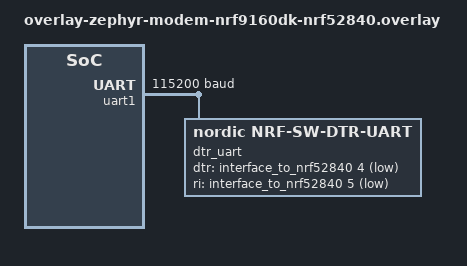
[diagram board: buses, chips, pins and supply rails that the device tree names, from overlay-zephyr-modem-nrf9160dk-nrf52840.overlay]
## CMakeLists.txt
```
#
# Copyright (c) 2019 Nordic Semiconductor
#
# SPDX-License-Identifier: LicenseRef-Nordic-5-Clause
#

cmake_minimum_required(VERSION 3.20.0)

find_package(Zephyr REQUIRED HINTS $ENV{ZEPHYR_BASE})
project(serial_lte_modem)

# NORDIC SDK APP START
target_sources(app PRIVATE src/main.c)
target_sources(app PRIVATE src/slm_util.c)
target_sources(app PRIVATE src/slm_ctrl_pin.c)
target_sources(app PRIVATE src/slm_settings.c)
target_sources(app PRIVATE src/slm_at_host.c)
target_sources(app PRIVATE src/slm_at_commands.c)
target_sources(app PRIVATE src/slm_at_socket.c)
target_sources(app PRIVATE src/slm_at_tcp_proxy.c)
target_sources(app PRIVATE src/slm_at_udp_proxy.c)
target_sources(app PRIVATE src/slm_at_icmp.c)
target_sources(app PRIVATE src/slm_at_fota.c)
target_sources(app PRIVATE src/slm_uart_handler.c)
# NORDIC SDK APP END
target_sources_ifdef(CONFIG_SLM_SMS app PRIVATE src/slm_at_sms.c)
target_sources_ifdef(CONFIG_SLM_PPP app PRIVATE src/slm_ppp.c)
target_sources_ifdef(CONFIG_SLM_CMUX app PRIVATE src/slm_cmux.c)

add_subdirectory_ifdef(CONFIG_SLM_GNSS src/gnss)
add_subdirectory_ifdef(CONFIG_SLM_NRF_CLOUD src/nrfcloud)
add_subdirectory_ifdef(CONFIG_SLM_MQTTC src/mqtt_c)
add_subdirectory_ifdef(CONFIG_SLM_HTTPC src/http_c)
add_subdirectory_ifdef(CONFIG_SLM_TWI src/twi)
add_subdirectory_ifdef(CONFIG_SLM_GPIO src/gpio)
add_subdirectory_ifdef(CONFIG_SLM_CARRIER src/lwm2m_carrier)
add_subdirectory_ifdef(CONFIG_SLM_NATIVE_TLS src/nativetls)
if (CONFIG_SLM_FTPC OR CONFIG_SLM_TFTPC)
        add_subdirectory(src/ftp_c)
endif()

zephyr_include_directories(src)
```

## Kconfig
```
#
# Copyright (c) 2019 Nordic Semiconductor
#
# SPDX-License-Identifier: LicenseRef-Nordic-5-Clause
#

source "Kconfig.zephyr"

menu "Nordic Serial LTE Modem"

config SLM_CUSTOMER_VERSION
	string "Customer version string"
	help
	   This version is reported together with baseline versions by AT command "#XSLMVER".

config SLM_AT_MAX_PARAM
	int "Maximum number of parameters in AT command"
	default 42

#
# external XTAL for UART
#
config SLM_EXTERNAL_XTAL
	bool "Use external XTAL for UARTE"
	default y

#
# AT command terminator
#
choice
	prompt "Termination mode"
	default SLM_CR_LF_TERMINATION
	help
	  Sets the command terminator used by the serial terminal.
	  Available options are:
	  -  CR termination
	  -  LF termination
	  -  CR+LF termination

config SLM_CR_TERMINATION
	bool "CR termination"

config SLM_LF_TERMINATION
	bool "LF termination"

config SLM_CR_LF_TERMINATION
	bool "CR+LF termination"

endchoice

#
# UART buffers (when CMUX is not in use)
#
config SLM_UART_RX_BUF_COUNT
	int "Receive buffers for UART"
	range 2 4
	default 3
	help
	  Amount of buffers for receiving (RX) UART traffic.
	  If the buffers are full, UART RX will be disabled until the buffers are processed.
	  These buffers are not used when CMUX is in use.

config SLM_UART_RX_BUF_SIZE
	int "Receive buffer size for UART"
	range 128 4096
	default 2048 if BOARD_THINGY91_NRF9160_NS || BOARD_THINGY91X_NRF9151_NS
	default 256
	help
	  Amount of received (RX), unprocessed, UART traffic that can be held by single buffer.
	  Increase buffer space for Thingy:91 and Thingy:91 X as hardware flow control is not used.
	  These buffers are not used when CMUX is in use.

config SLM_UART_TX_BUF_SIZE
	int "Send buffer size for UART"
	range 128 4096
	default 256
	help
	  Amount of UART traffic waiting to be sent (TX), that can be held.
	  If the buffers are full, will send synchronously.
	  These buffers are not used when CMUX is in use.

#
# GPIO functionality
#
config SLM_START_SLEEP
	bool "Enter sleep on startup"
	help
	  If enabled, the SiP is put into deep sleep when powered on.
	  It can then be started using SLM_POWER_PIN.

config SLM_POWER_PIN
	int "Power pin"
	default -1
	help
	  Interface GPIO pin used to put the SiP into deep sleep and wake up from it or exit idle.
	  The pin is configured with a pull up and must be pulled down shortly to perform one power off or wake up operation.

config SLM_INDICATE_PIN
	int "Indicate pin"
	default -1
	help
	  Interface GPIO pin used to indicate that data is available when SLM is idle (after #XSLEEP=2 AT command).

config SLM_INDICATE_TIME
	int "Indication period"
	default 100
	help
	  GPIO active indication time in milliseconds. This setting specify the period length for the pin to be active

#
# LTE network automatic attach
#
config SLM_AUTO_CONNECT
	bool "Automatically connect to the LTE network on start-up or after a reset"
	help
	  Enables automatic connection to the LTE network using the PDN configuration defined in 'slm_auto_connect.h'.

#
# TCP/TLS proxy
#
config SLM_TCP_POLL_TIME
	int "Poll time-out in seconds for TCP connection"
	default 10

config SLM_UDP_POLL_TIME
	int "Poll time-out in seconds for UDP connection"
	default 10

#
# Data mode
#
config SLM_DATAMODE_TERMINATOR
	string "Pattern string to terminate data mode"
	default "+++"
	help
	  Use a pattern to terminate data mode

config SLM_DATAMODE_URC
	bool "Send URC in data mode"
	help
	  Report result of data mode sending

config SLM_DATAMODE_BUF_SIZE
	int "Buffer size for data mode"
	range 1024 8192
	default 4096
	help
	  Size of the buffer for data received in data mode.

#
# Configurable services
#
config SLM_SMS
	bool "SMS support in SLM"
	default y
	select SMS
	help
	  Support SMS send/receive in plain text

config SLM_GNSS
	bool "GNSS support in SLM"
	default y

config SLM_NRF_CLOUD
	bool "nRF Cloud support in SLM"
	default y

config SLM_FULL_FOTA
	bool "Full modem FOTA support in SLM"
	depends on !BOARD_THINGY91_NRF9160_NS

config SLM_PPP
	bool "PPP support in SLM"
	help
	  When enabled, SLM automatically brings up/down the PPP link
	  when the LTE link (default PDN) is connected/disconnected,
	  regardless of what is done with AT#XPPP.

if SLM_PPP

config SLM_PPP_FALLBACK_MTU
	int "Fallback MTU to be used by PPP"
	default 1280
	help
	  PPP tries to retrieve the cellular link MTU from the modem (using `AT+CGCONTRDP=0`).
	  If no MTU is returned by the modem, this value will be used as a fallback.
	  The MTU will be used for sending and receiving of data on both the PPP and cellular links.

endif

config SLM_CMUX
	bool "CMUX support in SLM"

config SLM_CMUX_UART_BUFFER_SIZE
	int "UART buffer size for CMUX"
	depends on SLM_CMUX
	default 600
	help
	  Size of the buffer for data received in CMUX mode.
	  Same buffer size is used for both RX and TX.

config SLM_CMUX_TX_BUFFER_SIZE
	int "TX buffer size for CMUX"
	depends on SLM_CMUX
	default 4096
	help
	  Size of the buffer for data sent in CMUX mode. The buffer has to be large enough
	  to hold the largest unsolicited notification that can be sent by the modem.
	  Notifications longer than this size will get dropped.

	  This can be reduced if your use cases do not require lengthy notifications.
	  Note: %NCELLMEAS notifications can be nearly 4kB in size,
	  which explains the default value.

if SLM_CMUX && SLM_PPP

config SLM_MODEM_CELLULAR
	bool "Compatibility with cellular modem driver"
	help
	  Enables compatibility with a host that uses the cellular modem driver. Compared to clients,
	  such as pppd, the cellular modem driver retains more control on how the PPP link
	  is brought up and down.

config SLM_CMUX_AUTOMATIC_FALLBACK_ON_PPP_STOPPAGE
	bool "AT channel automatic fallback to DLCI 1 when PPP stops."
	default y if SLM_MODEM_CELLULAR
	help
	  This is mainly intended for compatibility with Zephyr's cellular modem driver.
	  If enabled, when PPP stops (which happens automatically when the LTE link goes down)
	  CMUX will make the AT channel be on DLCI 1. This only has an effect if it had been
	  configured to be elsewhere, e.g. with AT#XCMUX=2.

endif

if SLM_CMUX || SLM_PPP

config SLM_MODEM_PIPE_TIMEOUT
	int "Timeout for the CMUX and PPP modem pipe operations in seconds"
	default 10

endif

config SLM_SKIP_READY_MSG
	bool "Skip ready message"
	help
	  Skip sending the ready message when the application is powered on.


module = SLM
module-str = serial modem
source "$(ZEPHYR_BASE)/subsys/logging/Kconfig.template.log_config"

rsource "src/ftp_c/Kconfig"
rsource "src/mqtt_c/Kconfig"
rsource "src/http_c/Kconfig"
rsource "src/twi/Kconfig"
rsource "src/gpio/Kconfig"
rsource "src/lwm2m_carrier/Kconfig"
rsource "src/gnss/Kconfig"
rsource "src/nativetls/Kconfig"

endmenu
```

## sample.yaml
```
sample:
  name: Serial LTE Modem
tests:
  applications.serial_lte_modem:
    sysbuild: true
    build_only: true
    platform_allow:
      - nrf9160dk/nrf9160/ns
      - nrf9161dk/nrf9161/ns
      - nrf9151dk/nrf9151/ns
      - nrf9131ek/nrf9131/ns
      - thingy91/nrf9160/ns
      - thingy91x/nrf9151/ns
    integration_platforms:
      - nrf9160dk/nrf9160/ns
      - nrf9161dk/nrf9161/ns
      - nrf9151dk/nrf9151/ns
      - nrf9131ek/nrf9131/ns
      - thingy91/nrf9160/ns
      - thingy91x/nrf9151/ns
    tags:
      - ci_build
      - sysbuild
      - ci_applications_serial_lte_modem
  applications.serial_lte_modem_no_power_indicate:
    sysbuild: true
    build_only: true
    extra_configs:
      - CONFIG_SLM_POWER_PIN=-1
      - CONFIG_SLM_INDICATE_PIN=-1
    platform_allow:
      - nrf9151dk/nrf9151/ns
    integration_platforms:
      - nrf9151dk/nrf9151/ns
    tags:
      - ci_build
      - sysbuild
      - ci_applications_serial_lte_modem
  applications.serial_lte_modem_no_power:
    sysbuild: true
    build_only: true
    extra_configs:
      - CONFIG_SLM_POWER_PIN=-1
    platform_allow:
      - nrf9151dk/nrf9151/ns
    integration_platforms:
      - nrf9151dk/nrf9151/ns
    tags:
      - ci_build
      - sysbuild
      - ci_applications_serial_lte_modem
  applications.serial_lte_modem_no_indicate:
    sysbuild: true
    build_only: true
    extra_configs:
      - CONFIG_SLM_INDICATE_PIN=-1
    platform_allow:
      - nrf9151dk/nrf9151/ns
    integration_platforms:
      - nrf9151dk/nrf9151/ns
    tags:
      - ci_build
      - sysbuild
      - ci_applications_serial_lte_modem
  applications.serial_lte_modem.extmcu:
    sysbuild: true
    build_only: true
    extra_args:
      - EXTRA_DTC_OVERLAY_FILE="overlay-external-mcu.overlay"
    extra_configs:
      - CONFIG_SLM_POWER_PIN=31
      - CONFIG_SLM_INDICATE_PIN=30
    platform_allow:
      - nrf9160dk/nrf9160/ns
      - nrf9161dk/nrf9161/ns
      - nrf9151dk/nrf9151/ns
    integration_platforms:
      - nrf9151dk/nrf9151/ns
    tags:
      - ci_build
      - sysbuild
      - ci_applications_serial_lte_modem
  applications.serial_lte_modem.ppp_without_cmux:
    sysbuild: true
    build_only: true
    extra_args:
      - EXTRA_CONF_FILE="overlay-ppp.conf"
      - EXTRA_DTC_OVERLAY_FILE="overlay-ppp-without-cmux.overlay"
    platform_allow:
      - nrf9160dk/nrf9160/ns
      - nrf9161dk/nrf9161/ns
      - nrf9151dk/nrf9151/ns
      - nrf9131ek/nrf9131/ns
      - thingy91/nrf9160/ns
      - thingy91x/nrf9151/ns
    integration_platforms:
      - nrf9151dk/nrf9151/ns
    tags:
      - ci_build
      - sysbuild
      - ci_applications_serial_lte_modem
  applications.serial_lte_modem.ppp_without_cmux_power_indicate_pin:
    sysbuild: true
    build_only: true
    extra_args:
      - EXTRA_CONF_FILE="overlay-ppp.conf"
      - EXTRA_DTC_OVERLAY_FILE="overlay-ppp-without-cmux.overlay"
    extra_configs:
      - CONFIG_SLM_POWER_PIN=31
      - CONFIG_SLM_INDICATE_PIN=30
    platform_allow:
      - nrf9160dk/nrf9160/ns
      - nrf9161dk/nrf9161/ns
      - nrf9151dk/nrf9151/ns
      - nrf9131ek/nrf9131/ns
      - thingy91/nrf9160/ns
      - thingy91x/nrf9151/ns
    integration_platforms:
      - nrf9151dk/nrf9151/ns
    tags:
      - ci_build
      - sysbuild
      - ci_applications_serial_lte_modem
  applications.serial_lte_modem.ppp_cmux_linux:
    sysbuild: true
    build_only: true
    extra_args:
      - EXTRA_CONF_FILE="overlay-ppp-cmux-linux.conf"
    platform_allow:
      - nrf9160dk/nrf9160/ns
      - nrf9161dk/nrf9161/ns
      - nrf9151dk/nrf9151/ns
      - nrf9131ek/nrf9131/ns
      - thingy91/nrf9160/ns
      - thingy91x/nrf9151/ns
    integration_platforms:
      - nrf9151dk/nrf9151/ns
    tags:
      - ci_build
      - sysbuild
      - ci_applications_serial_lte_modem
  applications.serial_lte_modem.ppp_cmux_linux_power_indicate_pin:
    sysbuild: true
    build_only: true
    extra_args:
      - EXTRA_CONF_FILE="overlay-ppp-cmux-linux.conf"
    extra_configs:
      - CONFIG_SLM_POWER_PIN=31
      - CONFIG_SLM_INDICATE_PIN=30
    platform_allow:
      - nrf9160dk/nrf9160/ns
      - nrf9161dk/nrf9161/ns
      - nrf9151dk/nrf9151/ns
      - nrf9131ek/nrf9131/ns
      - thingy91/nrf9160/ns
      - thingy91x/nrf9151/ns
    integration_platforms:
      - nrf9151dk/nrf9151/ns
    tags:
      - ci_build
      - sysbuild
      - ci_applications_serial_lte_modem
  applications.serial_lte_modem.ppp_cmux_zephyr_with_extmcu:
    sysbuild: true
    build_only: true
    extra_args:
      - EXTRA_CONF_FILE="overlay-cmux.conf;overlay-ppp.conf;overlay-zephyr-modem.conf"
      - EXTRA_DTC_OVERLAY_FILE="overlay-external-mcu.overlay"
    platform_allow:
      - nrf9160dk/nrf9160/ns
      - nrf9161dk/nrf9161/ns
      - nrf9151dk/nrf9151/ns
    integration_platforms:
      - nrf9151dk/nrf9151/ns
    tags:
      - ci_build
      - sysbuild
      - ci_applications_serial_lte_modem
  applications.serial_lte_modem.ppp_cmux_zephyr_with_nrf52840_on_nrf9160dk:
    sysbuild: true
    build_only: true
    extra_args:
      - EXTRA_CONF_FILE="overlay-cmux.conf;overlay-ppp.conf;overlay-zephyr-modem.conf;overlay-zephyr-modem-nrf9160dk-nrf52840.conf"
      - EXTRA_DTC_OVERLAY_FILE="overlay-zephyr-modem-nrf9160dk-nrf52840.overlay"
    platform_allow:
      - nrf9160dk/nrf9160/ns
    integration_platforms:
      - nrf9160dk/nrf9160/ns
    tags:
      - ci_build
      - sysbuild
      - ci_applications_serial_lte_modem
  applications.serial_lte_modem.memfault:
    sysbuild: true
    build_only: true
    extra_args:
      - EXTRA_CONF_FILE=overlay-memfault.conf
    extra_configs:
      - CONFIG_MEMFAULT_NCS_PROJECT_KEY="dummy-key"
    platform_allow:
      - nrf9160dk/nrf9160/ns
      - nrf9161dk/nrf9161/ns
      - nrf9151dk/nrf9151/ns
      - nrf9131ek/nrf9131/ns
      - thingy91x/nrf9151/ns
    integration_platforms:
      - nrf9151dk/nrf9151/ns
    tags:
      - ci_build
      - sysbuild
      - ci_applications_serial_lte_modem
  applications.serial_lte_modem.native_tls:
    sysbuild: true
    build_only: true
    extra_args: EXTRA_CONF_FILE=overlay-native_tls.conf
    platform_allow:
      - nrf9160dk/nrf9160/ns
      - nrf9161dk/nrf9161/ns
      - nrf9151dk/nrf9151/ns
      - nrf9131ek/nrf9131/ns
      - thingy91x/nrf9151/ns
    integration_platforms:
      - nrf9151dk/nrf9151/ns
    tags:
      - ci_build
      - sysbuild
      - ci_applications_serial_lte_modem
  applications.serial_lte_modem.lwm2m_carrier:
    sysbuild: true
    build_only: true
    extra_args: EXTRA_CONF_FILE=overlay-carrier.conf
    platform_allow:
      - nrf9160dk/nrf9160/ns
      - nrf9161dk/nrf9161/ns
      - nrf9151dk/nrf9151/ns
      - nrf9131ek/nrf9131/ns
      - thingy91x/nrf9151/ns
    integration_platforms:
      - nrf9151dk/nrf9151/ns
    tags:
      - ci_build
      - sysbuild
      - ci_applications_serial_lte_modem
  applications.serial_lte_modem.lwm2m_carrier.softbank:
    sysbuild: true
    build_only: true
    extra_args:
      - EXTRA_CONF_FILE="overlay-carrier.conf;overlay-carrier-softbank.conf"
      - SB_EXTRA_CONF_FILE=sysbuild-softbank.conf
    platform_allow:
      - nrf9160dk/nrf9160/ns
      - nrf9151dk/nrf9151/ns
    integration_platforms:
      - nrf9160dk/nrf9160/ns
    tags:
      - ci_build
      - sysbuild
      - ci_applications_serial_lte_modem
  applications.serial_lte_modem.lwm2m_carrier.lgu:
    sysbuild: true
    build_only: true
    extra_args: EXTRA_CONF_FILE="overlay-carrier.conf;overlay-carrier-lgu.conf"
    platform_allow:
      - nrf9151dk/nrf9151/ns
    integration_platforms:
      - nrf9151dk/nrf9151/ns
    tags:
      - ci_build
      - sysbuild
      - ci_applications_serial_lte_modem
  applications.serial_lte_modem.tracing:
    sysbuild: true
    build_only: true
    platform_allow:
      - nrf9151dk/nrf9151/ns
      - nrf9160dk/nrf9160/ns
      - nrf9161dk/nrf9161/ns
      - thingy91/nrf9160/ns
      - thingy91x/nrf9151/ns
    integration_platforms:
      - nrf9151dk/nrf9151/ns
      - nrf9160dk/nrf9160/ns
      - nrf9161dk/nrf9161/ns
      - thingy91/nrf9160/ns
      - thingy91x/nrf9151/ns
    tags:
      - ci_build
      - sysbuild
      - ci_applications_serial_lte_modem
    extra_args:
      - serial_lte_modem_SNIPPET=nrf91-modem-trace-uart
```

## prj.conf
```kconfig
#
# Copyright (c) 2020 Nordic Semiconductor ASA
#
# SPDX-License-Identifier: LicenseRef-Nordic-5-Clause
#
# General config
CONFIG_LOG=y
CONFIG_ASSERT=y
CONFIG_ASSERT_VERBOSE=n
CONFIG_LOG_DEFAULT_LEVEL=3
CONFIG_STACK_SENTINEL=y
CONFIG_PICOLIBC_IO_FLOAT=y
CONFIG_RING_BUFFER=y
CONFIG_REBOOT=y
CONFIG_EVENTFD=y

# Segger RTT
CONFIG_USE_SEGGER_RTT=y
# Where console messages (printk) are output.
# By itself, SLM does not output any.
CONFIG_RTT_CONSOLE=y
CONFIG_UART_CONSOLE=n
# Where SLM logs are output.
CONFIG_LOG_BACKEND_RTT=y
CONFIG_LOG_BACKEND_UART=n
# Increase the buffer so that all SLM boot logs fit into the buffer.
# Because J-Link RTT Viewer has to be connected after the bootup,
# only logs that fit into the buffer are shown. This is especially useful in showing
# errors if SLM does not start properly.
CONFIG_SEGGER_RTT_BUFFER_SIZE_UP=2048

# Network
CONFIG_NETWORKING=y
CONFIG_NET_SOCKETS=y
CONFIG_NET_NATIVE=n
CONFIG_NET_IPV4=y
CONFIG_NET_IPV6=y

# Modem library
CONFIG_NRF_MODEM_LIB=y
CONFIG_AT_CMD_CUSTOM=y
# Align the max FD entry to NRF_MODEM_MAX_SOCKET_COUNT(8)
CONFIG_ZVFS_OPEN_MAX=8

# Handle modem fault
CONFIG_NRF_MODEM_LIB_ON_FAULT_APPLICATION_SPECIFIC=y

# Use GPIO
CONFIG_GPIO=y
CONFIG_GPIO_NRFX=y

# UART interface
CONFIG_SERIAL=y
CONFIG_UART_USE_RUNTIME_CONFIGURE=y
CONFIG_UART_ASYNC_API=y
CONFIG_NRFX_TIMER=y

# Stacks and heaps
CONFIG_MAIN_STACK_SIZE=4096
CONFIG_HEAP_MEM_POOL_SIZE=16384
CONFIG_SYSTEM_WORKQUEUE_STACK_SIZE=4096
CONFIG_AT_MONITOR_HEAP_SIZE=4096

# Device power management
CONFIG_PM_DEVICE=y

# FOTA
CONFIG_HTTP_PARSER_URL=y
CONFIG_FOTA_DOWNLOAD=y
CONFIG_FOTA_DOWNLOAD_PROGRESS_EVT=y
CONFIG_DFU_TARGET=y
CONFIG_DOWNLOADER=y
CONFIG_DOWNLOADER_STACK_SIZE=4096
CONFIG_DOWNLOADER_MAX_FILENAME_SIZE=2048
CONFIG_BOOTLOADER_MCUBOOT=y
CONFIG_IMG_MANAGER=y

# FLASH
CONFIG_FLASH=y
CONFIG_FLASH_PAGE_LAYOUT=y
CONFIG_FLASH_MAP=y
CONFIG_STREAM_FLASH=y
CONFIG_MPU_ALLOW_FLASH_WRITE=y
CONFIG_IMG_ERASE_PROGRESSIVELY=y

# Settings
CONFIG_SETTINGS=y
CONFIG_SETTINGS_NVS=y
CONFIG_NVS=y

# nRF Cloud
CONFIG_NRF_CLOUD=y
CONFIG_NRF_CLOUD_MQTT=y
CONFIG_NRF_CLOUD_FOTA=n
CONFIG_NRF_CLOUD_AGNSS=y
CONFIG_NRF_CLOUD_AGNSS_FILTERED=n
CONFIG_NRF_CLOUD_PGPS=n
CONFIG_NRF_CLOUD_LOCATION=y
CONFIG_NRF_CLOUD_LOG_LEVEL_INF=y
CONFIG_NRF_CLOUD_GPS_LOG_LEVEL_INF=y
CONFIG_NRF_CLOUD_CLIENT_ID_SRC_INTERNAL_UUID=y
CONFIG_NRF_CLOUD_WIFI_LOCATION_ENCODE_OPT_MAC_RSSI=y
CONFIG_DATE_TIME=y
CONFIG_MODEM_INFO=y
CONFIG_MODEM_INFO_ADD_DATE_TIME=n

# UUID and JWT
CONFIG_MODEM_JWT=y

# MQTT client
#CONFIG_MQTT_KEEPALIVE=60
CONFIG_MQTT_CLEAN_SESSION=y

# AT command helper libraries
CONFIG_AT_PARSER=y
CONFIG_AT_MONITOR=y

# Eventfd's to use with AT-commands.
CONFIG_ZVFS_EVENTFD_MAX=2

# Disable TF-M logging.
# TF-M log sending will block until remote end is ready, when HWFC is used on UART1.
CONFIG_TFM_LOG_LEVEL_SILENCE=y

#
# SLM-specific configurations
#
CONFIG_SLM_CUSTOMER_VERSION=""
CONFIG_SLM_EXTERNAL_XTAL=n

# debug options
#CONFIG_LOG_BUFFER_SIZE=16384
#CONFIG_SLM_LOG_LEVEL_DBG=y
#CONFIG_LOG_PRINTK=n
#CONFIG_LOG_MODE_IMMEDIATE=y

# For using external GNSS antenna
#CONFIG_MODEM_ANTENNA=y
#CONFIG_MODEM_ANTENNA_GNSS_EXTERNAL=y
```

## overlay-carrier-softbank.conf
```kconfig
#
# Copyright (c) 2024 Nordic Semiconductor
#
# SPDX-License-Identifier: LicenseRef-Nordic-5-Clause
#

# SoftBank
CONFIG_LWM2M_CARRIER_SOFTBANK=y
CONFIG_LWM2M_CARRIER_SOFTBANK_DIVIDED_FOTA=y

# Application FOTA
CONFIG_DFU_TARGET_MCUBOOT=y
CONFIG_IMG_MANAGER=y
CONFIG_STREAM_FLASH=y
CONFIG_STREAM_FLASH_ERASE=y
CONFIG_FLASH_MAP=y
```

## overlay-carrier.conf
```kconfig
#
# Copyright (c) 2022 Nordic Semiconductor ASA
#
# SPDX-License-Identifier: LicenseRef-Nordic-5-Clause
#

CONFIG_LWM2M_CARRIER=y

# LwM2M carrier is only compiled for hard-float
CONFIG_FP_HARDABI=y

# PDN management support
CONFIG_PDN=y

# Download client for DFU
CONFIG_DOWNLOAD_CLIENT_MAX_FILENAME_SIZE=230
CONFIG_DOWNLOAD_CLIENT_HTTP_FRAG_SIZE_1024=y

# Modem info
CONFIG_MODEM_INFO_BUFFER_SIZE=512

# Enable LwM2M carrier support in SLM
CONFIG_SLM_CARRIER=y
CONFIG_SLM_AUTO_CONNECT=y
CONFIG_SLM_CUSTOMER_VERSION="lwm2m_carrier"

# Enable LwM2M carrier settings support
CONFIG_LWM2M_CARRIER_SETTINGS=y

# DFU target library
CONFIG_DFU_TARGET=y
```

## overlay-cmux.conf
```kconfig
#
# Copyright (c) 2023 Nordic Semiconductor ASA
#
# SPDX-License-Identifier: LicenseRef-Nordic-5-Clause
#

CONFIG_SLM_CMUX=y
CONFIG_SLM_SKIP_READY_MSG=y

# Zephyr modem subsystem
CONFIG_MODEM_MODULES=y
CONFIG_MODEM_CMUX=y

# debug options
#CONFIG_MODEM_CMUX_LOG_LEVEL_DBG=y
#CONFIG_MODEM_MODULES_LOG_LEVEL_DBG=y
```

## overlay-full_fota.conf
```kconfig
#
# Copyright (c) 2023 Nordic Semiconductor ASA
#
# SPDX-License-Identifier: LicenseRef-Nordic-5-Clause
#

# This overlay requires a board with an external flash.
# For nRF9160 DKs, only revisions 0.14.0 and later have one.

# Enable external flash for full FOTA
CONFIG_SPI_NOR=y

# Full modem FOTA required settings
CONFIG_DFU_TARGET_STREAM=y
CONFIG_DFU_TARGET_FULL_MODEM=y
CONFIG_FMFU_FDEV_SKIP_PREVALIDATION=n
CONFIG_MBEDTLS_LEGACY_CRYPTO_C=y
CONFIG_MBEDTLS_SHA256_C=y
CONFIG_FMFU_FDEV=y
CONFIG_ZCBOR=y
CONFIG_STREAM_FLASH_INSPECT=n

# Enable full FOTA support
CONFIG_SLM_FULL_FOTA=y
```

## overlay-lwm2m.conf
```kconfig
#
# Copyright (c) 2024 Nordic Semiconductor ASA
#
# SPDX-License-Identifier: LicenseRef-Nordic-5-Clause
#

CONFIG_SLM_AUTO_CONNECT=y

CONFIG_SLM_LWM2M=y
CONFIG_SLM_LWM2M_AUTO_STARTUP=y
CONFIG_SLM_LWM2M_PSK=""

CONFIG_PDN=y

CONFIG_LWM2M=y
CONFIG_LWM2M_DNS_SUPPORT=y
CONFIG_LWM2M_DTLS_SUPPORT=y
CONFIG_LWM2M_COAP_BLOCK_SIZE=512
CONFIG_LWM2M_COAP_MAX_MSG_SIZE=1280
CONFIG_LWM2M_QUEUE_MODE_ENABLED=n
CONFIG_LWM2M_TICKLESS=y
CONFIG_LWM2M_TLS_SESSION_CACHING=y
CONFIG_LWM2M_RW_OMA_TLV_SUPPORT=y
CONFIG_LWM2M_RD_CLIENT_SUPPORT_BOOTSTRAP=y
CONFIG_LWM2M_RD_CLIENT_SUSPEND_SOCKET_AT_IDLE=y

CONFIG_LWM2M_VERSION_1_1=y
CONFIG_LWM2M_RW_SENML_CBOR_SUPPORT=y

CONFIG_LWM2M_CLIENT_UTILS=y
CONFIG_LWM2M_CLIENT_UTILS_SERVER=""
CONFIG_LWM2M_CLIENT_UTILS_SECURITY_OBJ_SUPPORT=y
CONFIG_LWM2M_CLIENT_UTILS_DEVICE_OBJ_SUPPORT=y
CONFIG_LWM2M_CLIENT_UTILS_CONN_MON_OBJ_SUPPORT=y
CONFIG_LWM2M_CLIENT_UTILS_FIRMWARE_UPDATE_OBJ_SUPPORT=y
CONFIG_LWM2M_CLIENT_UTILS_ADV_FIRMWARE_UPDATE_OBJ_SUPPORT=n
CONFIG_LWM2M_CLIENT_UTILS_LOCATION_OBJ_SUPPORT=n
CONFIG_LWM2M_CLIENT_UTILS_CELL_CONN_OBJ_SUPPORT=y
CONFIG_LWM2M_CLIENT_UTILS_BINARYAPPDATA_OBJ_SUPPORT=y
CONFIG_LWM2M_CLIENT_UTILS_RAI=y

# Support HEX style PSK values (double the size + NULL char)
CONFIG_LWM2M_SECURITY_KEY_SIZE=33
CONFIG_LWM2M_SECURITY_INSTANCE_COUNT=2

CONFIG_COAP_EXTENDED_OPTIONS_LEN=y
CONFIG_COAP_EXTENDED_OPTIONS_LEN_VALUE=40

# Because of SenML CBOR
CONFIG_ZCBOR=y
CONFIG_ZCBOR_CANONICAL=y

# Because of CONFIG_LWM2M_DTLS_SUPPORT, the following options are required
CONFIG_MODEM_KEY_MGMT=y

# Because of CONFIG_LWM2M_TICKLESS, the following options are required
CONFIG_NET_SOCKETPAIR=y

# Until lwm2m_client_utils build without LTE_LINK_CONTROL
CONFIG_LTE_LINK_CONTROL=y

# Disable modules not needed
CONFIG_SLM_NRF_CLOUD=n
CONFIG_SLM_SMS=n
CONFIG_SLM_GNSS=n
CONFIG_SLM_FTPC=n
CONFIG_SLM_TFTPC=n
CONFIG_SLM_MQTTC=n
CONFIG_SLM_HTTPC=n
```

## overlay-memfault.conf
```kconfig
#
# Copyright (c) 2025 Nordic Semiconductor
#
# SPDX-License-Identifier: LicenseRef-Nordic-5-Clause
#

CONFIG_MEMFAULT=y
CONFIG_MEMFAULT_HTTP_PERIODIC_UPLOAD=y
CONFIG_MODEM_KEY_MGMT=y
CONFIG_MEMFAULT_LOGGING_ENABLE=y
CONFIG_MEMFAULT_HTTP_ENABLE=y
CONFIG_MEMFAULT_NCS_LTE_METRICS=y
CONFIG_MEMFAULT_NCS_STACK_METRICS=y
CONFIG_MEMFAULT_NCS_INTERNAL_FLASH_BACKED_COREDUMP=y
CONFIG_MEMFAULT_NCS_DEVICE_ID_IMEI=y
CONFIG_MEMFAULT_LOGGING_RAM_SIZE=4096
CONFIG_MEMFAULT_HEAP_STATS=y
CONFIG_MEMFAULT_HTTP_DEDICATED_WORKQUEUE_STACK_SIZE=1560
CONFIG_MEMFAULT_COREDUMP_FULL_THREAD_STACKS=y
CONFIG_MEMFAULT_EVENT_STORAGE_SIZE=2048
CONFIG_MEMFAULT_NCS_POST_COREDUMP_ON_NETWORK_CONNECTED=y
CONFIG_PDN=y
CONFIG_LTE_LINK_CONTROL=y
CONFIG_LTE_LC_EDRX_MODULE=y
CONFIG_LTE_LC_PSM_MODULE=y

# Memfault depends on POSIX, disable unneeded POSIX features
CONFIG_POSIX_FILE_SYSTEM=n
```

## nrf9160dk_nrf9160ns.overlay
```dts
&uart2 {
	compatible = "nordic,nrf-uarte";
	current-speed = <115200>;
	status = "okay";
	tx-pin = <10>;
	rx-pin = <11>;
	rts-pin = <12>;
	cts-pin = <13>;
	hw-flow-control;
};


&i2c2 {
	status = "disabled";
};
```

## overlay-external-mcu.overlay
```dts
/*
 * Copyright (c) 2024 Nordic Semiconductor ASA
 *
 * SPDX-License-Identifier: LicenseRef-Nordic-5-Clause
 */

/ {
	chosen {
		ncs,slm-uart = &uart2;
	};
};

&uart2 {
	status = "okay";
};

/* uart0 is not needed if no logging is received there. */
&uart0 {
	status = "disabled";
};

/ {
	slm_gpio_pins: slm_gpio_pins {
		compatible = "slm-gpio-pins";
		power-gpios = <&gpio0 31 GPIO_ACTIVE_LOW>;
		power-gpios-active-time-ms = <100>;
		power-gpios-debounce-time-ms = <50>;
		indicate-gpios = <&gpio0 30 GPIO_ACTIVE_LOW>;
		indicate-gpios-active-time-ms = <100>;
	};
};
```

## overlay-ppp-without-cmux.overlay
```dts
/*
 * Copyright (c) 2023 Nordic Semiconductor ASA
 *
 * SPDX-License-Identifier: LicenseRef-Nordic-5-Clause
 */

/* Include this devicetree overlay only if using PPP without CMUX. */

/ {
	chosen {
		ncs,slm-ppp-uart = &uart1;
	};
};

/* PPP UART. Baud rates other than 115200/230400/1000000 didn't work on uart1. */
&uart1 {
	status = "okay";
	hw-flow-control;
	current-speed = <1000000>;
};
```

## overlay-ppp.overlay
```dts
/*
 * Copyright (c) 2023 Nordic Semiconductor ASA
 *
 * SPDX-License-Identifier: LicenseRef-Nordic-5-Clause
 */

 / {
	chosen {
		zephyr,ppp-uart = &uart1;
	};
};

/* PPP UART. Baud rates other than 115200/230400/1000000 didn't work on uart1. */
&uart1 {
	status = "okay";
	hw-flow-control;
	current-speed = <1000000>;
};
```

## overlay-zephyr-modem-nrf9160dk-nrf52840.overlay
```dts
/*
 * Copyright (c) 2024 Nordic Semiconductor ASA
 *
 * SPDX-License-Identifier: LicenseRef-Nordic-5-Clause
 */

#include <nrf9160/nrf9160dk_uart1_on_if0_3.dtsi>

/ {
	chosen {
		ncs,slm-uart = &dtr_uart;
	};
};

&uart1 {
        current-speed = <115200>;
        hw-flow-control;
	status = "okay";
	dtr_uart: nrf-sw-dtr-uart {
		compatible = "nordic,nrf-sw-dtr-uart";
		dtr-gpios = <&interface_to_nrf52840 4 (GPIO_PULL_UP | GPIO_ACTIVE_LOW)>;
		ri-gpios = <&interface_to_nrf52840 5 (GPIO_ACTIVE_LOW)>;
		status = "okay";
	};
};
```

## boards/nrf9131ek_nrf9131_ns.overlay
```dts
/*
 * Copyright (c) 2024 Nordic Semiconductor ASA
 *
 * SPDX-License-Identifier: LicenseRef-Nordic-5-Clause
 */

/ {
	chosen {
		ncs,slm-uart = &uart0;
	};
};

&uart0 {
	status = "okay";
	hw-flow-control;
};
```

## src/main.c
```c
/*
 * Copyright (c) 2019 Nordic Semiconductor ASA
 *
 * SPDX-License-Identifier: LicenseRef-Nordic-5-Clause
 */
#include <zephyr/logging/log.h>
#include <zephyr/kernel.h>
#include <nrf_modem.h>
#include <hal/nrf_power.h>
#include <modem/nrf_modem_lib.h>
#include <zephyr/dfu/mcuboot.h>
#include <dfu/dfu_target.h>
#include <zephyr/sys/reboot.h>
#include <net/fota_download.h>
#include "slm_at_host.h"
#include "slm_at_fota.h"
#include "slm_settings.h"
#include "slm_util.h"
#include "slm_ctrl_pin.h"

LOG_MODULE_REGISTER(slm, CONFIG_SLM_LOG_LEVEL);

#define SLM_WQ_STACK_SIZE	KB(4)
#define SLM_WQ_PRIORITY		K_LOWEST_APPLICATION_THREAD_PRIO
static K_THREAD_STACK_DEFINE(slm_wq_stack_area, SLM_WQ_STACK_SIZE);

struct k_work_q slm_work_q;

NRF_MODEM_LIB_ON_INIT(lwm2m_init_hook, on_modem_lib_init, NULL);
NRF_MODEM_LIB_ON_DFU_RES(main_dfu_hook, on_modem_dfu_res, NULL);

static void on_modem_lib_init(int ret, void *ctx)
{
	ARG_UNUSED(ctx);

	/** ret: Zero on success, a positive value @em nrf_modem_dfu when executing
	 *  Modem firmware updates, and negative errno on other failures.
	 */
	LOG_INF("lib_modem init: %d", ret);
}

#if defined(CONFIG_NRF_MODEM_LIB_ON_FAULT_APPLICATION_SPECIFIC)
static struct nrf_modem_fault_info modem_fault_info;

static void on_modem_failure(struct k_work *)
{
	int ret;

	rsp_send("\r\n#XMODEM: FAULT,0x%x,0x%x\r\n", modem_fault_info.reason,
		 modem_fault_info.program_counter);

	ret = nrf_modem_lib_shutdown();
	rsp_send("\r\n#XMODEM: SHUTDOWN,%d\r\n", ret);

	ret = nrf_modem_lib_init();
	rsp_send("\r\n#XMODEM: INIT,%d\r\n", ret);
}
K_WORK_DEFINE(modem_failure_work, on_modem_failure);

void nrf_modem_fault_handler(struct nrf_modem_fault_info *fault_info)
{
	modem_fault_info = *fault_info;

	k_work_submit(&modem_failure_work);
}
#endif /* CONFIG_NRF_MODEM_LIB_ON_FAULT_APPLICATION_SPECIFIC */

static void on_modem_dfu_res(int dfu_res, void *ctx)
{
	slm_fota_type = DFU_TARGET_IMAGE_TYPE_MODEM_DELTA;
	slm_fota_stage = FOTA_STAGE_COMPLETE;
	slm_fota_status = FOTA_STATUS_ERROR;
	slm_fota_info = dfu_res;

	switch (dfu_res) {
	case NRF_MODEM_DFU_RESULT_OK:
		LOG_INF("Modem update OK. Running new firmware.");
		slm_fota_status = FOTA_STATUS_OK;
		slm_fota_info = 0;
		break;
	case NRF_MODEM_DFU_RESULT_UUID_ERROR:
	case NRF_MODEM_DFU_RESULT_AUTH_ERROR:
		LOG_ERR("Modem update failed (0x%x). Running old firmware.", dfu_res);
		break;
	case NRF_MODEM_DFU_RESULT_HARDWARE_ERROR:
	case NRF_MODEM_DFU_RESULT_INTERNAL_ERROR:
		LOG_ERR("Fatal error (0x%x) encountered during modem update.", dfu_res);
		break;
	case NRF_MODEM_DFU_RESULT_VOLTAGE_LOW:
		LOG_ERR("Modem update postponed due to low voltage. "
			"Reset the modem once you have sufficient power.");
		slm_fota_stage = FOTA_STAGE_ACTIVATE;
		break;
	default:
		LOG_ERR("Unhandled nrf_modem DFU result code 0x%x.", dfu_res);
		break;
	}
}

static void check_app_fota_status(void)
{
	/** When a TEST image is swapped to primary partition and booted by MCUBOOT,
	 * the API mcuboot_swap_type() will return BOOT_SWAP_TYPE_REVERT. By this type
	 * MCUBOOT means that the TEST image is booted OK and, if it's not confirmed
	 * next, it'll be swapped back to secondary partition and original application
	 * image will be restored to the primary partition (so-called Revert).
	 */
	const int type = mcuboot_swap_type();

	switch (type) {
	/** Attempt to boot the contents of slot 0. */
	case BOOT_SWAP_TYPE_NONE:
		/* Normal reset, nothing happened, do nothing. */
		return;
	/** Swap to slot 1. Absent a confirm command, revert back on next boot. */
	case BOOT_SWAP_TYPE_TEST:
	/** Swap to slot 1, and permanently switch to booting its contents. */
	case BOOT_SWAP_TYPE_PERM:
	/** Swap failed because image to be run is not valid. */
	case BOOT_SWAP_TYPE_FAIL:
		slm_fota_status = FOTA_STATUS_ERROR;
		slm_fota_info = type;
		break;
	/** Swap back to alternate slot. A confirm changes this state to NONE. */
	case BOOT_SWAP_TYPE_REVERT:
		/* Happens on a successful application FOTA. */
		const int ret = boot_write_img_confirmed();

		slm_fota_info = ret;
		slm_fota_status = ret ? FOTA_STATUS_ERROR : FOTA_STATUS_OK;
		break;
	}
	slm_fota_type = DFU_TARGET_IMAGE_TYPE_MCUBOOT;
	slm_fota_stage = FOTA_STAGE_COMPLETE;
}

int lte_auto_connect(void)
{
	int err = 0;
#if defined(CONFIG_SLM_AUTO_CONNECT)
	int ret;
	int n;
	int stat;
	struct network_config {
		/* Refer to AT command manual of %XSYSTEMMODE for system mode settings */
		int lte_m_support;     /* 0 ~ 1 */
		int nb_iot_support;    /* 0 ~ 1 */
		int gnss_support;      /* 0 ~ 1 */
		int lte_preference;    /* 0 ~ 4 */
		/* Refer to AT command manual of +CGDCONT and +CGAUTH for PDN configuration */
		bool pdp_config;       /* PDP context definition required or not */
		char *pdn_fam;         /* PDP type: "IP", "IPV6", "IPV4V6", "Non-IP" */
		char *pdn_apn;         /* Access point name */
		int pdn_auth;          /* PDN authentication protocol 0(None), 1(PAP), 2(CHAP) */
		char *pdn_username;    /* PDN connection authentication username */
		char *pdn_password;    /* PDN connection authentication password */
	};
	const struct network_config cfg = {
#include "slm_auto_connect.h"
	};

	ret = slm_util_at_scanf("AT+CEREG?", "+CEREG: %d,%d", &n, &stat);
	if (ret != 2 || (stat == 1 || stat == 5)) {
		return 0;
	}

	LOG_INF("lte auto connect");
	err = slm_util_at_printf("AT%%XSYSTEMMODE=%d,%d,%d,%d", cfg.lte_m_support,
				  cfg.nb_iot_support, cfg.gnss_support, cfg.lte_preference);
	if (err) {
		LOG_ERR("Failed to configure system mode: %d", err);
		return err;
	}
	if (cfg.pdp_config) {
		err = slm_util_at_printf("AT+CGDCONT=0,%s,%s", cfg.pdn_fam, cfg.pdn_apn);
		if (err) {
			LOG_ERR("Failed to configure PDN: %d", err);
			return err;
		}
	}
	if (cfg.pdp_config && cfg.pdn_auth != 0) {
		err = slm_util_at_printf("AT+CGAUTH=0,%d,%s,%s", cfg.pdn_auth,
					  cfg.pdn_username, cfg.pdn_password);
		if (err) {
			LOG_ERR("Failed to configure AUTH: %d", err);
			return err;
		}
	}
	err = slm_util_at_printf("AT+CFUN=1");
	if (err) {
		LOG_ERR("Failed to turn on radio: %d", err);
		return err;
	}
#endif /* CONFIG_SLM_AUTO_CONNECT */

	return err;
}

int start_execute(void)
{
	int err;

	LOG_INF("Serial LTE Modem");

	slm_ctrl_pin_init();

	/* This will send "READY" or "INIT ERROR" to UART so after this nothing
	 * should be done that can fail
	 */
	err = slm_at_host_init();
	if (err) {
		LOG_ERR("Failed to init at_host: %d", err);
		return err;
	}

	k_work_queue_start(&slm_work_q, slm_wq_stack_area,
			   K_THREAD_STACK_SIZEOF(slm_wq_stack_area),
			   SLM_WQ_PRIORITY, NULL);
	(void)lte_auto_connect();

	return 0;
}

int main(void)
{
	const uint32_t rr = nrf_power_resetreas_get(NRF_POWER_NS);

	nrf_power_resetreas_clear(NRF_POWER_NS, 0x70017);
	LOG_DBG("RR: 0x%08x", rr);

	slm_ctrl_pin_init_gpios();

	/* Init and load settings */
	if (slm_settings_init() != 0) {
		LOG_WRN("Failed to init slm settings");
	}

#if defined(CONFIG_SLM_FULL_FOTA)
	if (slm_modem_full_fota) {
		slm_finish_modem_full_fota();
		slm_fota_type = DFU_TARGET_IMAGE_TYPE_FULL_MODEM;
	}
#endif

	int ret = nrf_modem_lib_init();

	if (ret) {
		LOG_ERR("Modem library init failed, err: %d", ret);
		if (ret != -EAGAIN && ret != -EIO) {
			goto exit;
		} else if (ret == -EIO) {
			LOG_ERR("Please program full modem firmware with the bootloader or "
				"external tools");
		}
	}

	check_app_fota_status();

#if defined(CONFIG_SLM_START_SLEEP)

	if (!(rr & NRF_POWER_RESETREAS_OFF_MASK)) { /* DETECT signal from GPIO */

		enter_sleep_no_uninit();
	}
#endif /* CONFIG_SLM_START_SLEEP */

	ret = start_execute();
exit:
	if (ret) {
		LOG_ERR("Failed to start SLM (%d). It's not operational!!!", ret);
	}
	return ret;
}
```

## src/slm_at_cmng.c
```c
/*
 * Copyright (c) 2020 Nordic Semiconductor ASA
 *
 * SPDX-License-Identifier: LicenseRef-Nordic-5-Clause
 */
#include <zephyr/logging/log.h>
#include <zephyr/kernel.h>
#include <stdio.h>
#include <string.h>
#include <zephyr/net/socket.h>
#include <modem/modem_key_mgmt.h>
#include "slm_util.h"
#include "slm_native_tls.h"
#include "slm_at_host.h"
#include "slm_at_cmng.h"

LOG_MODULE_REGISTER(slm_cmng, CONFIG_SLM_LOG_LEVEL);

/**@brief List of supported opcode */
enum slm_cmng_opcode {
	AT_CMNG_OP_WRITE,
	AT_CMNG_OP_LIST,
	AT_CMNG_OP_READ,
	AT_CMNG_OP_DELETE
};

/**@brief List of supported type */
enum slm_cmng_type {
	AT_CMNG_TYPE_CA_CERT,
	AT_CMNG_TYPE_CERT,
	AT_CMNG_TYPE_PRIV,
	AT_CMNG_TYPE_PSK,
	AT_CMNG_TYPE_PSK_ID,
};

/* Handles AT#XCMNG command. */
int handle_at_xcmng(enum at_cmd_type cmd_type)
{
	int err = -EINVAL;
	uint16_t op, type;
	nrf_sec_tag_t sec_tag;
	uint8_t *content;
	size_t len = SLM_AT_MAX_RSP_LEN;

	switch (cmd_type) {
	case AT_CMD_TYPE_SET_COMMAND:
		if (at_params_valid_count_get(&slm_at_param_list) < 2) {
			LOG_ERR("Parameter missed");
			return -EINVAL;
		}
		err = at_params_unsigned_short_get(&slm_at_param_list, 1, &op);
		if (err < 0) {
			LOG_ERR("Fail to get op parameter: %d", err);
			return err;
		}
		if (op > AT_CMNG_OP_DELETE) {
			LOG_ERR("Wrong XCMNG operation: %d", op);
			return -EPERM;
		}
		if (op == AT_CMNG_OP_LIST) {
			/* Currently not support list command */
			LOG_ERR("XCMNG List is not supported");
			return -EPERM;
		}
		if (at_params_valid_count_get(&slm_at_param_list) < 4) {
			/* READ, WRITE, DELETE requires sec_tag and type */
			LOG_ERR("Parameter missed");
			return -EINVAL;
		}
		err = at_params_unsigned_int_get(&slm_at_param_list, 2, &sec_tag);
		if (err < 0) {
			LOG_ERR("Fail to get sec_tag parameter: %d", err);
			return err;
		};
		if (sec_tag > MAX_SLM_SEC_TAG) {
			LOG_ERR("Invalid security tag: %d", sec_tag);
			return -EINVAL;
		}
		err = at_params_unsigned_short_get(&slm_at_param_list, 3, &type);
		if (err < 0) {
			LOG_ERR("Fail to get type parameter: %d", err);
			return err;
		};
		if (op == AT_CMNG_OP_WRITE) {
			if (at_params_valid_count_get(&slm_at_param_list) < 5) {
				/* WRITE requires sec_tag, type and content */
				LOG_ERR("Parameter missed");
				return -EINVAL;
			}
			content = k_malloc(SLM_AT_MAX_RSP_LEN);
			err = util_string_get(&slm_at_param_list, 4, content,
						   &len);
			if (err != 0) {
				LOG_ERR("Failed to get content");
				k_free(content);
				return err;
			}
			err = modem_key_mgmt_write(
				slm_tls_map_sectag(sec_tag, type),
				0, content, len);
			if (err != 0) {
				LOG_ERR("FAILED! modem_key_mgmt_write() = %d",
					err);
			}
			k_free(content);
		} else if (op == AT_CMNG_OP_READ) {
			if (type == AT_CMNG_TYPE_CERT ||
			   type == AT_CMNG_TYPE_PRIV ||
			   type == AT_CMNG_TYPE_PSK) {
				/* Not supported */
				LOG_ERR("Not support READ for type: %d", type);
				return -EPERM;
			}
			content = k_malloc(SLM_AT_MAX_RSP_LEN);
			err = modem_key_mgmt_read(
				slm_tls_map_sectag(sec_tag, type),
				0, content, &len);
			if (err != 0) {
				LOG_ERR("FAILED! modem_key_mgmt_read() = %d",
					err);
			} else {
				*(content + len) = '\0';
				rsp_send("%%CMNG: %d,%d,\"\","
					"\"%s\"\r\n", sec_tag, type, content);
			}
			k_free(content);
		} else if (op == AT_CMNG_OP_DELETE) {
			err = modem_key_mgmt_delete(
				slm_tls_map_sectag(sec_tag, type), 0);
			if (err != 0) {
				LOG_ERR("FAILED! modem_key_mgmt_delete() = %d",
					err);
			}
		}
		break;

	default:
		break;
	}

	return err;
}

/**@brief API to initialize CMNG AT commands handler
 */
int slm_at_cmng_init(void)
{
	return 0;
}

/**@brief API to uninitialize CMNG AT commands handler
 */
int slm_at_cmng_uninit(void)
{
	return 0;
}
```

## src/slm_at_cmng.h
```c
/*
 * Copyright (c) 2020 Nordic Semiconductor ASA
 *
 * SPDX-License-Identifier: LicenseRef-Nordic-5-Clause
 */

#ifndef SLM_AT_CMNG_
#define SLM_AT_CMNG_

/**@file slm_at_cmng.h
 *
 * @brief Vendor-specific AT command for CMNG service.
 * @{
 */

/**
 * @brief Initialize CMNG AT command parser.
 *
 * @retval 0 If the operation was successful.
 *           Otherwise, a (negative) error code is returned.
 */
int slm_at_cmng_init(void);

/**
 * @brief Uninitialize CMNG AT command parser.
 *
 * @retval 0 If the operation was successful.
 *           Otherwise, a (negative) error code is returned.
 */
int slm_at_cmng_uninit(void);
/** @} */

#endif /* SLM_AT_CMNG_ */
```

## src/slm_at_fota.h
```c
/*
 * Copyright (c) 2020 Nordic Semiconductor ASA
 *
 * SPDX-License-Identifier: LicenseRef-Nordic-5-Clause
 */

#ifndef SLM_AT_FOTA_
#define SLM_AT_FOTA_

/** @file slm_at_fota.h
 *
 * @brief Vendor-specific AT command for FOTA service.
 * @{
 */

#include <stdbool.h>
#include <stdint.h>

enum fota_stage {
	FOTA_STAGE_INIT,
	FOTA_STAGE_DOWNLOAD,
	FOTA_STAGE_DOWNLOAD_ERASE_PENDING,
	FOTA_STAGE_DOWNLOAD_ERASED,
	FOTA_STAGE_ACTIVATE,
	FOTA_STAGE_COMPLETE
};

enum fota_status {
	FOTA_STATUS_OK,
	FOTA_STATUS_ERROR,
	FOTA_STATUS_CANCELLED
};

/* Whether a modem full firmware update is to be activated. */
extern bool slm_modem_full_fota;

extern uint8_t slm_fota_type; /* FOTA image type. */
extern enum fota_stage slm_fota_stage; /* Current stage of FOTA process. */
extern enum fota_status slm_fota_status; /* FOTA process status. */
extern int32_t slm_fota_info; /* FOTA download percentage or failure cause in case of error. */

/**
 * @brief Initialize FOTA AT command parser.
 *
 * @retval 0 If the operation was successful.
 *           Otherwise, a (negative) error code is returned.
 */
int slm_at_fota_init(void);

/**
 * @brief Uninitialize FOTA AT command parser.
 *
 * @retval 0 If the operation was successful.
 *           Otherwise, a (negative) error code is returned.
 */
int slm_at_fota_uninit(void);

/** @brief Sets the FOTA state variables to their default values. */
void slm_fota_init_state(void);

/**
 * @brief FOTA post-process after reboot.
 */
void slm_fota_post_process(void);

/**
 * @brief Finishes the full modem firmware update.
 *
 * This is to be called after the application or modem
 * has been rebooted and a full modem firmware update is ongoing.
 */
#if defined(CONFIG_SLM_FULL_FOTA)
void slm_finish_modem_full_fota(void);
#endif

/** @} */
#endif /* SLM_AT_FOTA_ */
```

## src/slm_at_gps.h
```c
/*
 * Copyright (c) 2019 Nordic Semiconductor ASA
 *
 * SPDX-License-Identifier: LicenseRef-BSD-5-Clause-Nordic
 */

#ifndef SLM_AT_GPS_
#define SLM_AT_GPS_

/**@file slm_at_gps.h
 *
 * @brief Vendor-specific AT command for GPS service.
 * @{
 */

#include <zephyr/types.h>
#include <modem/at_cmd.h>

/**
 * @brief GPS AT command parser.
 *
 * @param at_cmd  AT command string.
 *
 * @retval 0 If the operation was successful.
 *           Otherwise, a (negative) error code is returned.
 */
int slm_at_gps_parse(const char *at_cmd);

/**
 * @brief List GPS AT commands.
 *
 */
void slm_at_gps_clac(void);

/**
 * @brief Initialize GPS AT command parser.
 *
 * @retval 0 If the operation was successful.
 *           Otherwise, a (negative) error code is returned.
 */
int slm_at_gps_init(void);

/**
 * @brief Uninitialize GPS AT command parser.
 *
 * @retval 0 If the operation was successful.
 *           Otherwise, a (negative) error code is returned.
 */
int slm_at_gps_uninit(void);

/** @} */

#endif /* SLM_AT_GPS_ */
```

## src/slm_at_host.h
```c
/*
 * Copyright (c) 2019 Nordic Semiconductor ASA
 *
 * SPDX-License-Identifier: LicenseRef-Nordic-5-Clause
 */

#ifndef SLM_AT_HOST_
#define SLM_AT_HOST_

/** @file slm_at_host.h
 *
 * @brief AT host for serial LTE modem
 * @{
 */

#include <zephyr/types.h>
#include <ctype.h>
#include <nrf_modem_at.h>
#include <modem/at_monitor.h>
#include <modem/at_cmd_custom.h>
#include <modem/at_parser.h>
#include "slm_defines.h"

/* This delay is necessary to send AT responses at low baud rates. */
#define SLM_UART_RESPONSE_DELAY K_MSEC(50)

#define SLM_DATAMODE_FLAGS_NONE	0
#define SLM_DATAMODE_FLAGS_MORE_DATA (1 << 0)
#define SLM_DATAMODE_FLAGS_EXIT_HANDLER (1 << 1)

extern uint8_t slm_data_buf[SLM_MAX_MESSAGE_SIZE];  /* For socket data. */
extern uint8_t slm_at_buf[SLM_AT_MAX_CMD_LEN + 1]; /* AT command buffer. */

extern uint16_t slm_datamode_time_limit; /* Send trigger by time in data mode. */

/** @brief Operations in data mode. */
enum slm_datamode_operation {
	DATAMODE_SEND,  /* Send data in datamode */
	DATAMODE_EXIT   /* Exit data mode */
};

/** @brief Data mode sending handler type.
 *
 * @retval 0 means all data is sent successfully.
 *         Positive value means the actual size of bytes that has been sent.
 *         Negative value means error occurrs in sending.
 */
typedef int (*slm_datamode_handler_t)(uint8_t op, const uint8_t *data, int len, uint8_t flags);

/**
 * @brief Sends the given data via the current AT backend.
 *
 * @retval 0 on success.
 */
int slm_at_send(const uint8_t *data, size_t len);

/** @brief Identical to slm_at_send(str, strlen(str)). */
int slm_at_send_str(const char *str);

/**
 * @brief Processes received AT bytes.
 *
 * @retval Number of bytes processed.
 */
size_t slm_at_receive(const uint8_t *data, size_t len, bool *stop_at_receive);

/**
 * @brief Initialize AT host for serial LTE modem
 *
 * @retval 0 If the operation was successful.
 *           Otherwise, a (negative) error code is returned.
 */
int slm_at_host_init(void);

/**
 * @brief Turns the current AT backend and UART power off.
 *
 * @retval 0 on success, or a (negative) error code.
 */
int slm_at_host_power_off(void);

/** @brief Counterpart to @c slm_at_host_power_off(). */
int slm_at_host_power_on(void);

/**
 * @brief Uninitialize AT host for serial LTE modem
 */
void slm_at_host_uninit(void);

/**
 * @brief Send AT command response
 *
 * @param fmt Response message format string
 *
 */
void rsp_send(const char *fmt, ...);

/**
 * @brief Send AT command response with indication.
 *
 * @param fmt Response message format string.
 *
 */
void rsp_send_indicate(const char *fmt, ...);

/**
 * @brief Send AT command response of OK
 */
void rsp_send_ok(void);

/**
 * @brief Send AT command response of ERROR
 */
void rsp_send_error(void);

/**
 * @brief Send raw data received in data mode
 *
 * @param data Raw data received
 * @param len Length of raw data
 *
 */
void data_send(const uint8_t *data, size_t len);

/**
 * @brief Request SLM AT host to enter data mode
 *
 * No AT unsolicited message or command response allowed in data mode.
 *
 * @param handler Data mode handler provided by requesting module
 *
 * @retval 0 If the operation was successful.
 *         Otherwise, a (negative) error code is returned.
 */
int enter_datamode(slm_datamode_handler_t handler);

/**
 * @brief Check whether SLM AT host is in data mode
 *
 * @retval true if yes, false if no.
 */
bool in_datamode(void);

/**
 * @brief Exit the data mode handler
 *
 * Remove the callback to the data mode handler and start dropping the incoming data, until
 * the data mode is exited.
 *
 * @param result Result of sending in data mode.
 *
 * @retval true If handler has closed successfully.
 *         false If not in data mode.
 */
bool exit_datamode_handler(int result);

/** @brief SLM AT command callback type. */
typedef int slm_at_callback(enum at_parser_cmd_type cmd_type, struct at_parser *parser,
			    uint32_t param_count);

/**
 * @brief Generic wrapper for a custom SLM AT command callback.
 *
 * This will call the AT command handler callback, which is declared with SLM_AT_CMD_CUSTOM.
 *
 * @param buf Response buffer.
 * @param len Response buffer size.
 * @param at_cmd AT command.
 * @param cb AT command callback.

 * @retval 0 on success.
 */
int slm_at_cb_wrapper(char *buf, size_t len, char *at_cmd, slm_at_callback cb);

/**
 * @brief Define a wrapper for a SLM custom AT command callback.
 *
 * Wrapper will call the generic wrapper, which will call the actual AT command handler.
 *
 * @param entry The entry name.
 * @param _filter The (partial) AT command on which the callback should trigger.
 * @param _callback The AT command handler callback.
 *
 */
#define SLM_AT_CMD_CUSTOM(entry, _filter, _callback)                                               \
	static int _callback(enum at_parser_cmd_type cmd_type, struct at_parser *parser,           \
			     uint32_t);                                                            \
	static int _callback##_wrapper_##entry(char *buf, size_t len, char *at_cmd)                \
	{                                                                                          \
		return slm_at_cb_wrapper(buf, len, at_cmd, _callback);                             \
	}                                                                                          \
	AT_CMD_CUSTOM(entry, _filter, _callback##_wrapper_##entry);

/** @} */

#endif /* SLM_AT_HOST_ */
```

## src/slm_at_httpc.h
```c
/*
 * Copyright (c) 2020 Nordic Semiconductor ASA
 *
 * SPDX-License-Identifier: LicenseRef-BSD-5-Clause-Nordic
 */

#ifndef SLM_AT_HTTPC_
#define SLM_AT_HTTPC_

/**@file slm_at_httpc.h
 *
 * @brief Vendor-specific AT command for HTTP service.
 * @{
 */

#include <zephyr/types.h>
#include "slm_at_host.h"

/**
 * @brief HTTPC AT command parser.
 *
 * @param at_cmd AT command or data string.
 * @param length AT command or data string length.
 *
 * @retval 0 If the operation was successful.
 *           Otherwise, negative code means error.
 *           Otherwise, positive code means data is sent in passthrough mode.
 */
int slm_at_httpc_parse(const char *at_cmd, size_t length);

/**
 * @brief Initialize HTTPC AT command parser.
 *
 * @retval 0 If the operation was successful.
 *           Otherwise, a (negative) error code is returned.
 */
int slm_at_httpc_init(void);

/**
 * @brief Uninitialize HTTPC AT command parser.
 *
 * @retval 0 If the operation was successful.
 *           Otherwise, a (negative) error code is returned.
 */
int slm_at_httpc_uninit(void);

/**
 * @brief List HTTPC AT commands.
 *
 */
void slm_at_httpc_clac(void);

/** @} */

#endif /* SLM_AT_HTTPC_ */
```
